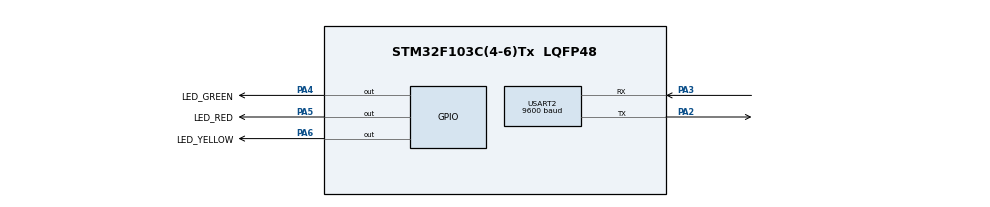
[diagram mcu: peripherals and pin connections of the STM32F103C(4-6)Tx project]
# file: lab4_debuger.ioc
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Mcu.Family=STM32F1
Mcu.Name=STM32F103C(4-6)Tx
Mcu.Package=LQFP48
NVIC.PriorityGroup=NVIC_PRIORITYGROUP_4
NVIC.TIM2_IRQn=true\:0\:0\:false\:false\:true\:true\:true
NVIC.USART2_IRQn=true\:0\:0\:false\:false\:true\:true\:true
PA13.Mode=Serial_Wire
PA13.Signal=SYS_JTMS-SWDIO
PA14.Mode=Serial_Wire
PA14.Signal=SYS_JTCK-SWCLK
PA2.Mode=Asynchronous
PA2.Signal=USART2_TX
PA3.Mode=Asynchronous
PA3.Signal=USART2_RX
PA4.GPIO_Label=LED_GREEN
PA4.Signal=GPIO_Output
PA5.GPIO_Label=LED_RED
PA5.Signal=GPIO_Output
PA6.GPIO_Label=LED_YELLOW
PA6.Signal=GPIO_Output
ProjectManager.HeapSize=0x200
ProjectManager.StackSize=0x400
ProjectManager.TargetToolchain=STM32CubeIDE
RCC.APB1Freq_Value=8000000
RCC.APB2Freq_Value=8000000
TIM2.Period=9
TIM2.Prescaler=7999
USART2.BaudRate=9600
USART2.VirtualMode=VM_ASYNC
VP_TIM2_VS_ClockSourceINT.Mode=Internal
board=custom

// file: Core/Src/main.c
/* USER CODE BEGIN Header */
/**
  ******************************************************************************
  * @file           : main.c
  * @brief          : Main program body
  ******************************************************************************
  * @attention
  *
  * <h2><center>&copy; Copyright (c) 2024 STMicroelectronics.
  * All rights reserved.</center></h2>
  *
  * This software component is licensed by ST under BSD 3-Clause license,
  * the "License"; You may not use this file except in compliance with the
  * License. You may obtain a copy of the License at:
  *                        opensource.org/licenses/BSD-3-Clause
  *
  ******************************************************************************
  */
/* USER CODE END Header */
#include "main.h"

/* USER CODE BEGIN Includes */
#include "scheduler.h"
#include "stdio.h"
/* USER CODE END Includes */

TIM_HandleTypeDef htim2;

UART_HandleTypeDef huart2;

void SystemClock_Config(void);
static void MX_GPIO_Init(void);
static void MX_TIM2_Init(void);
static void MX_USART2_UART_Init(void);

/* USER CODE BEGIN 0 */
int counter = 0;
void send_time(){
    char buffer[20];
    int length = sprintf(buffer, "Time: %d ms\r\n",  counter); // Thêm chuỗi "Time:" và xuống dòng "\r\n"
    HAL_UART_Transmit(&huart2, (uint8_t*)buffer, length, HAL_MAX_DELAY);
}

uint8_t data[] = "Hello UART\r\n";
void LEDREDBINKY(){
	HAL_GPIO_TogglePin(GPIOA, LED_RED_Pin);
	send_time();
}
void LEDGREENBINKY(){
	HAL_GPIO_TogglePin(GPIOA, LED_GREEN_Pin);
	send_time();
}

void LEDYELLOWBINKY(){
	HAL_GPIO_TogglePin(GPIOA, LED_YELLOW_Pin);
	send_time();
}

/* USER CODE END 0 */

int main(void)
{

  /* MCU Configuration--------------------------------------------------------*/

  /* Reset of all peripherals, Initializes the Flash interface and the Systick. */
  HAL_Init();

  /* Configure the system clock */
  SystemClock_Config();

  /* Initialize all configured peripherals */
  MX_GPIO_Init();
  MX_TIM2_Init();
  MX_USART2_UART_Init();
  /* USER CODE BEGIN 2 */
  HAL_TIM_Base_Start_IT(&htim2);
  SCH_INIT();
  SCH_Add_Task(LEDREDBINKY, 500, 1000);
  SCH_Add_Task(LEDYELLOWBINKY, 500, 1000);
  SCH_Add_Oneshort_tasks(LEDGREENBINKY, 500);
  /* USER CODE END 2 */

  /* Infinite loop */
  /* USER CODE BEGIN WHILE */
  while (1)
  {
	 SCH_Dispatch_Task();
    /* USER CODE END WHILE */

  }
}

void SystemClock_Config(void)
{
  RCC_OscInitTypeDef RCC_OscInitStruct = {0};
  RCC_ClkInitTypeDef RCC_ClkInitStruct = {0};

  /** Initializes the RCC Oscillators according to the specified parameters
  * in the RCC_OscInitTypeDef structure.
  */
  RCC_OscInitStruct.OscillatorType = RCC_OSCILLATORTYPE_HSI;
  RCC_OscInitStruct.HSIState = RCC_HSI_ON;
  RCC_OscInitStruct.HSICalibrationValue = RCC_HSICALIBRATION_DEFAULT;
  RCC_OscInitStruct.PLL.PLLState = RCC_PLL_NONE;
  if (HAL_RCC_OscConfig(&RCC_OscInitStruct) != HAL_OK)
  {
    Error_Handler();
  }
  /** Initializes the CPU, AHB and APB buses clocks
  */
  RCC_ClkInitStruct.ClockType = RCC_CLOCKTYPE_HCLK|RCC_CLOCKTYPE_SYSCLK
                              |RCC_CLOCKTYPE_PCLK1|RCC_CLOCKTYPE_PCLK2;
  RCC_ClkInitStruct.SYSCLKSource = RCC_SYSCLKSOURCE_HSI;
  RCC_ClkInitStruct.AHBCLKDivider = RCC_SYSCLK_DIV1;
  RCC_ClkInitStruct.APB1CLKDivider = RCC_HCLK_DIV1;
  RCC_ClkInitStruct.APB2CLKDivider = RCC_HCLK_DIV1;

  if (HAL_RCC_ClockConfig(&RCC_ClkInitStruct, FLASH_LATENCY_0) != HAL_OK)
  {
    Error_Handler();
  }
}

static void MX_TIM2_Init(void)
{

  TIM_ClockConfigTypeDef sClockSourceConfig = {0};
  TIM_MasterConfigTypeDef sMasterConfig = {0};

  htim2.Instance = TIM2;
  htim2.Init.Prescaler = 7999;
  htim2.Init.CounterMode = TIM_COUNTERMODE_UP;
  htim2.Init.Period = 9;
  htim2.Init.ClockDivision = TIM_CLOCKDIVISION_DIV1;
  htim2.Init.AutoReloadPreload = TIM_AUTORELOAD_PRELOAD_DISABLE;
  if (HAL_TIM_Base_Init(&htim2) != HAL_OK)
  {
    Error_Handler();
  }
  sClockSourceConfig.ClockSource = TIM_CLOCKSOURCE_INTERNAL;
  if (HAL_TIM_ConfigClockSource(&htim2, &sClockSourceConfig) != HAL_OK)
  {
    Error_Handler();
  }
  sMasterConfig.MasterOutputTrigger = TIM_TRGO_RESET;
  sMasterConfig.MasterSlaveMode = TIM_MASTERSLAVEMODE_DISABLE;
  if (HAL_TIMEx_MasterConfigSynchronization(&htim2, &sMasterConfig) != HAL_OK)
  {
    Error_Handler();
  }

}

static void MX_USART2_UART_Init(void)
{

  huart2.Instance = USART2;
  huart2.Init.BaudRate = 9600;
  huart2.Init.WordLength = UART_WORDLENGTH_8B;
  huart2.Init.StopBits = UART_STOPBITS_1;
  huart2.Init.Parity = UART_PARITY_NONE;
  huart2.Init.Mode = UART_MODE_TX_RX;
  huart2.Init.HwFlowCtl = UART_HWCONTROL_NONE;
  huart2.Init.OverSampling = UART_OVERSAMPLING_16;
  if (HAL_UART_Init(&huart2) != HAL_OK)
  {
    Error_Handler();
  }

}

static void MX_GPIO_Init(void)
{
  GPIO_InitTypeDef GPIO_InitStruct = {0};

  /* GPIO Ports Clock Enable */
  __HAL_RCC_GPIOA_CLK_ENABLE();

  /*Configure GPIO pin Output Level */
  HAL_GPIO_WritePin(GPIOA, LED_GREEN_Pin|LED_RED_Pin|LED_YELLOW_Pin, GPIO_PIN_RESET);

  /*Configure GPIO pins : LED_GREEN_Pin LED_RED_Pin LED_YELLOW_Pin */
  GPIO_InitStruct.Pin = LED_GREEN_Pin|LED_RED_Pin|LED_YELLOW_Pin;
  GPIO_InitStruct.Mode = GPIO_MODE_OUTPUT_PP;
  GPIO_InitStruct.Pull = GPIO_NOPULL;
  GPIO_InitStruct.Speed = GPIO_SPEED_FREQ_LOW;
  HAL_GPIO_Init(GPIOA, &GPIO_InitStruct);

}

/* USER CODE BEGIN 4 */
void HAL_TIM_PeriodElapsedCallback(TIM_HandleTypeDef *htim){
	 SCH_Update();
	 counter+=10;
}
/* USER CODE END 4 */

void Error_Handler(void)
{
  __disable_irq();
  while (1)
  {
  }
}

/************************ (C) COPYRIGHT STMicroelectronics *****END OF FILE****/
